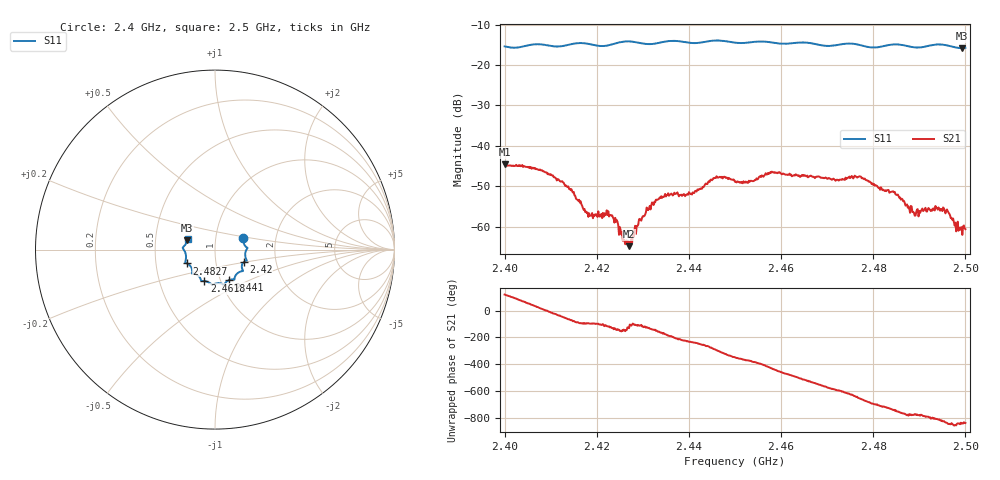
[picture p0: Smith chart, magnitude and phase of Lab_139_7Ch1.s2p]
# Hz S RI R 50
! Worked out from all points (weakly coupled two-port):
!   601 points, 2.4 GHz to 2.5 GHz, reference 50 ohm
!   highest |S21| = -44.52 dB at 2.4 GHz (marker M1); lowest = -64.8 dB at 2.427 GHz (marker M2)
!   lowest |S11| = -15.8 dB at 2.4993 GHz (marker M3), VSWR 1.39, Z = 36.5 + j3.82 ohm
!   |S11| at or under -10 dB: start of sweep to end of sweep
!   S12 and S22 are empty: the file has one direction only
!   S11 on the Smith chart (normalised r, x): 2.4 GHz: 1.36, +0.18; 2.42 GHz: 1.36, -0.20; 2.441 GHz: 1.10, -0.39; 2.4618 GHz: 0.84, -0.30; 2.4827 GHz: 0.72, -0.12; 2.5 GHz: 0.73, +0.09
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2.4e9  0.1584 0.0628  -0.00293 0.00517  0 0  0 0
2.41e9  0.1726 -0.00597  0.00433 -0.00109  0 0  0 0
2.416667e9  0.1771 -0.0611  -0.000178 -0.00188  0 0  0 0
2.418333e9  0.1712 -0.0634  -0.000169 -0.00145  0 0  0 0
2.42e9  0.1595 -0.0701  -0.000236 -0.0014  0 0  0 0
2.423e9  0.1494 -0.0973  -0.000736 -0.00119  0 0  0 0
2.426167e9  0.1564 -0.1181  -0.000545 -0.000266  0 0  0 0
2.427e9  0.1561 -0.1194  -0.000381 -0.000429  0 0  0 0
2.429667e9  0.1398 -0.1232  -0.000348 -0.00113  0 0  0 0
2.433333e9  0.1112 -0.1509  -0.00203 -0.000784  0 0  0 0
2.441e9  0.0788 -0.1697  -0.00135 0.00224  0 0  0 0
2.445833e9  0.05 -0.1952  0.00163 0.00366  0 0  0 0
2.45e9  0.0284 -0.1874  0.00352 0.000671  0 0  0 0
2.461833e9  -0.0593 -0.1753  -0.00234 -0.00388  0 0  0 0
2.466667e9  -0.079 -0.1683  -0.00418 -0.000361  0 0  0 0
2.477167e9  -0.1268 -0.1229  0.00197 0.00369  0 0  0 0
2.482667e9  -0.1558 -0.0773  0.00282 -9.2e-05  0 0  0 0
2.483333e9  -0.1601 -0.0751  0.00281 -0.000427  0 0  0 0
2.489e9  -0.1615 -0.037  0.00081 -0.0011  0 0  0 0
2.495667e9  -0.1764 0.0153  -0.000623 -0.00132  0 0  0 0
2.499333e9  -0.154 0.051  -0.000428 -0.000664  0 0  0 0
2.5e9  -0.1522 0.0606  -0.000462 -0.000809  0 0  0 0
